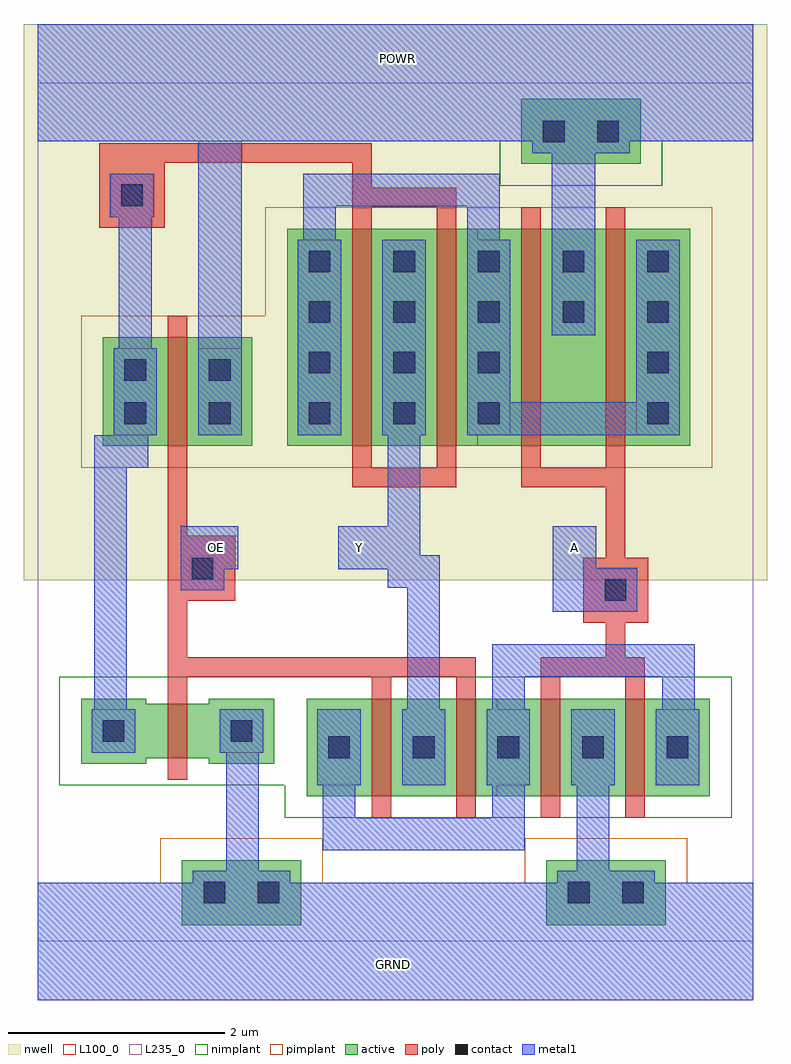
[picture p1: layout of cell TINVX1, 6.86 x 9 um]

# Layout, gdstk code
import gdstk
lib = gdstk.Library(unit=1e-6, precision=1e-09)
def R(c, l, rs):  # rectangles x0, y0, x1, y1
    for r in rs: c.add(gdstk.rectangle(r[:2], r[2:], *l))
def A(c, l, x, y, w, h, nx, ny, dx, dy):  # array of equal rectangles
    R(c, l, [(x+i*dx, y+j*dy, x+i*dx+w, y+j*dy+h) for i in range(nx) for j in range(ny)])
def P(c, l, *ps):  # polygons
    for p in ps: c.add(gdstk.Polygon(p, *l))
active = (1, 0)
nwell = (2, 0)
poly = (3, 0)
nimplant = (4, 0)
pimplant = (5, 0)
contact = (6, 0)
metal1 = (7, 0)
L100_0 = (100, 0)
L235_0 = (235, 0)

tinvx1 = lib.new_cell('TINVX1')
A(tinvx1, active, 2.48, 1.34, 0.6, 0.9, 5, 1, 0.78, 0)
A(tinvx1, active, 3.08, 1.34, 0.18, 0.9, 4, 1, 0.78, 0)
A(tinvx1, active, 2.3, 4.57, 0.6, 2, 5, 1, 0.78, 0)
A(tinvx1, active, 2.9, 4.57, 0.18, 2, 4, 1, 0.78, 0)
R(tinvx1, active, [(1.33,0.15,2.43,0.75), (4.69,0.15,5.79,0.75), (4.04,1.34,4.24,2.24), (1.2,1.69,1.38,2.19), (0.6,4.57,1.2,5.57), (1.2,4.57,1.38,5.57), (1.38,4.57,1.98,5.57), (3.86,4.57,4.06,6.57), (4.46,7.17,5.56,7.77)])
P(tinvx1, active, [(0.4,1.64),(1,1.64),(1,1.69),(1.2,1.69),(1.2,2.19),(1,2.19),(1,2.24),(0.4,2.24)],
  [(1.38,1.69),(1.58,1.69),(1.58,1.64),(2.18,1.64),(2.18,2.24),(1.58,2.24),(1.58,2.19),(1.38,2.19)])
R(tinvx1, nwell, [(-0.13,3.33,6.73,8.46), (0.1,4.07,2.48,6.07), (1.8,4.07,4.56,7.07), (3.36,4.07,6.52,7.07)])
A(tinvx1, poly, 3.08, 1.14, 0.18, 0.2, 4, 2, 0.78, 1.1)
A(tinvx1, poly, 3.08, 1.14, 0.18, 1.3, 4, 1, 0.78, 0)
A(tinvx1, poly, 2.9, 4.37, 0.18, 0.2, 4, 2, 0.78, 2.2)
A(tinvx1, poly, 2.9, 4.37, 0.18, 2.4, 4, 1, 0.78, 0)
R(tinvx1, poly, [(1.2,1.49,1.38,1.69), (1.2,1.49,1.38,2.39), (1.2,2.19,1.38,2.39), (5.03,2.94,5.63,3.54), (1.22,3.14,1.82,3.74), (1.2,4.37,1.38,5.77), (1.2,4.37,1.38,4.57), (1.2,5.57,1.38,5.77), (0.57,6.58,1.17,7.18)])
R(tinvx1, nimplant, [(2.28,1.14,4.44,2.44), (3.84,1.14,6.4,2.44), (0.2,1.44,2.38,2.44), (4.26,6.97,5.76,7.97), (0,7.38,6.6,8.46)])
R(tinvx1, pimplant, [(0,-0.54,6.6,0.54), (1.13,-0.05,2.63,0.95), (4.49,-0.05,5.99,0.95), (0.4,4.37,2.18,5.77), (2.1,4.37,4.26,6.77), (3.66,4.37,6.22,6.77)])
A(tinvx1, contact, 2.68, 1.69, 0.2, 0.2, 5, 1, 0.78, 0)
A(tinvx1, contact, 2.5, 4.77, 0.2, 0.2, 3, 2, 0.78, 0.47)
A(tinvx1, contact, 2.5, 5.705, 0.2, 0.2, 5, 2, 0.78, 0.465)
R(tinvx1, contact, [(1.53,0.35,1.73,0.55), (2.03,0.35,2.23,0.55), (4.89,0.35,5.09,0.55), (5.39,0.35,5.59,0.55), (0.6,1.84,0.8,2.04), (1.78,1.84,1.98,2.04), (5.23,3.14,5.43,3.34), (1.42,3.34,1.62,3.54), (0.8,4.77,1,4.97), (1.58,4.77,1.78,4.97), (5.62,4.77,5.82,4.97), (0.8,5.17,1,5.37), (1.58,5.17,1.78,5.37), (5.62,5.24,5.82,5.44), (0.77,6.78,0.97,6.98), (4.66,7.37,4.86,7.57), (5.16,7.37,5.36,7.57)])
R(tinvx1, metal1, [(0,-0.54,6.6,0.54), (1.43,0.25,2.33,0.65), (4.79,0.25,5.69,0.65), (5.13,3.04,5.53,3.44), (1.32,3.24,1.72,3.64), (1.5,3.48,1.8,3.78), (2.82,3.48,3.12,3.78), (4.8,3.48,5.1,3.78), (0.67,6.68,1.07,7.08), (4.56,7.27,5.46,7.67), (0,7.38,6.6,8.46)])
A(tinvx1, L100_0, 2.58, 1.44, 0.4, 0.7, 3, 1, 1.56, 0)
A(tinvx1, L100_0, 2.4, 4.67, 0.4, 1.8, 3, 1, 1.56, 0)
R(tinvx1, L100_0, [(4.04,1.34,4.24,2.24), (0.5,1.74,0.9,2.14), (1.68,1.74,2.08,2.14), (3.86,4.57,4.06,6.57), (0.7,4.67,1.1,5.47), (1.48,4.67,1.88,5.47)])
R(tinvx1, L235_0, [(0,0,6.6,7.92)])
tinvx1.add(gdstk.FlexPath([(4.64,2.53),(5.6,2.53)], 0.18, ends="flush", simple_path=True, layer=3, datatype=0))  # poly
tinvx1.add(gdstk.FlexPath([(1.29,4.375),(1.29,2.31)], 0.18, ends="flush", simple_path=True, layer=3, datatype=0))  # poly
tinvx1.add(gdstk.FlexPath([(2.9,4.28),(3.86,4.28)], 0.18, ends="flush", simple_path=True, layer=3, datatype=0))  # poly
tinvx1.add(gdstk.FlexPath([(5.33,2.44),(5.33,4.215)], 0.18, ends="flush", simple_path=True, layer=3, datatype=0))  # poly
tinvx1.add(gdstk.FlexPath([(4.46,4.28),(5.42,4.28)], 0.18, ends="flush", simple_path=True, layer=3, datatype=0))  # poly
tinvx1.add(gdstk.FlexPath([(2.9,6.86),(3.86,6.86)], 0.18, ends="flush", simple_path=True, layer=3, datatype=0))  # poly
tinvx1.add(gdstk.FlexPath([(2.99,6.77),(2.99,7.27),(0.57,7.27)], 0.18, ends="flush", simple_path=True, layer=3, datatype=0))  # poly
tinvx1.add(gdstk.FlexPath([(4.04,2.53),(1.2,2.53)], 0.18, ends="flush", simple_path=True, layer=3, datatype=0))  # poly
tinvx1.add(gdstk.FlexPath([(0.9,4.67),(0.9,5.47)], 0.4, ends="flush", simple_path=True, layer=7, datatype=0))  # metal1
tinvx1.add(gdstk.FlexPath([(1.68,4.67),(1.68,5.47)], 0.4, ends="flush", simple_path=True, layer=7, datatype=0))  # metal1
tinvx1.add(gdstk.FlexPath([(4.16,4.67),(4.16,6.47)], 0.4, ends="flush", simple_path=True, layer=7, datatype=0))  # metal1
tinvx1.add(gdstk.FlexPath([(4.94,5.59),(4.94,6.47)], 0.4, ends="flush", simple_path=True, layer=7, datatype=0))  # metal1
tinvx1.add(gdstk.FlexPath([(5.72,4.67),(5.72,6.47)], 0.4, ends="flush", simple_path=True, layer=7, datatype=0))  # metal1
tinvx1.add(gdstk.FlexPath([(4.36,4.82),(5.52,4.82)], 0.3, ends="flush", simple_path=True, layer=7, datatype=0))  # metal1
tinvx1.add(gdstk.FlexPath([(2.6,4.67),(2.6,6.47)], 0.4, ends="flush", simple_path=True, layer=7, datatype=0))  # metal1
tinvx1.add(gdstk.FlexPath([(3.38,4.67),(3.38,6.47)], 0.4, ends="flush", simple_path=True, layer=7, datatype=0))  # metal1
tinvx1.add(gdstk.FlexPath([(0.7,1.74),(0.7,2.14)], 0.4, ends="flush", simple_path=True, layer=7, datatype=0))  # metal1
tinvx1.add(gdstk.FlexPath([(1.88,1.74),(1.88,2.14)], 0.4, ends="flush", simple_path=True, layer=7, datatype=0))  # metal1
tinvx1.add(gdstk.FlexPath([(4.34,1.44),(4.34,2.14)], 0.4, ends="flush", simple_path=True, layer=7, datatype=0))  # metal1
tinvx1.add(gdstk.FlexPath([(5.12,1.44),(5.12,2.14)], 0.4, ends="flush", simple_path=True, layer=7, datatype=0))  # metal1
tinvx1.add(gdstk.FlexPath([(5.9,1.44),(5.9,2.14)], 0.4, ends="flush", simple_path=True, layer=7, datatype=0))  # metal1
tinvx1.add(gdstk.FlexPath([(2.78,1.44),(2.78,2.14)], 0.4, ends="flush", simple_path=True, layer=7, datatype=0))  # metal1
tinvx1.add(gdstk.FlexPath([(3.56,1.44),(3.56,2.14)], 0.4, ends="flush", simple_path=True, layer=7, datatype=0))  # metal1
tinvx1.add(gdstk.FlexPath([(5.91,1.95),(5.91,2.59),(4.34,2.59),(4.34,1.93)], 0.3, ends="flush", simple_path=True, layer=7, datatype=0))  # metal1
tinvx1.add(gdstk.FlexPath([(0.9,6.805),(0.9,5.435)], 0.3, ends="flush", simple_path=True, layer=7, datatype=0))  # metal1
tinvx1.add(gdstk.FlexPath([(5.12,1.56),(5.12,0.42)], 0.3, ends="flush", simple_path=True, layer=7, datatype=0))  # metal1
tinvx1.add(gdstk.FlexPath([(4.94,6.34),(4.94,7.92)], 0.4, ends="flush", simple_path=True, layer=7, datatype=0))  # metal1
tinvx1.add(gdstk.FlexPath([(0.67,2.05),(0.67,4.52),(0.87,4.52),(0.87,5.46)], 0.3, ends="flush", simple_path=True, layer=7, datatype=0))  # metal1
tinvx1.add(gdstk.FlexPath([(1.68,5.37),(1.68,7.925)], 0.4, ends="flush", simple_path=True, layer=7, datatype=0))  # metal1
tinvx1.add(gdstk.FlexPath([(3.38,4.675),(3.38,3.41),(3.56,3.41),(3.56,2)], 0.3, ends="flush", simple_path=True, layer=7, datatype=0))  # metal1
tinvx1.add(gdstk.FlexPath([(2.78,1.45),(2.78,0.99),(4.34,0.99),(4.34,1.46)], 0.3, ends="flush", simple_path=True, layer=7, datatype=0))  # metal1
tinvx1.add(gdstk.FlexPath([(1.89,2),(1.89,0.09)], 0.3, ends="flush", simple_path=True, layer=7, datatype=0))  # metal1
tinvx1.add(gdstk.FlexPath([(2.6,6.37),(2.6,6.93),(4.11,6.93),(4.11,6.34)], 0.3, ends="flush", simple_path=True, layer=7, datatype=0))  # metal1
tinvx1.add(gdstk.FlexPath([(1.32,3.63),(1.85,3.63)], 0.4, ends="flush", simple_path=True, layer=7, datatype=0))  # metal1
tinvx1.add(gdstk.FlexPath([(3.23,3.63),(2.77,3.63)], 0.4, ends="flush", simple_path=True, layer=7, datatype=0))  # metal1
tinvx1.add(gdstk.FlexPath([(5.32,3.24),(4.95,3.24),(4.95,3.83)], 0.4, ends="flush", simple_path=True, layer=7, datatype=0))  # metal1
tinvx1.add(gdstk.Label('GRND', (3.28,-0.21), layer=230, texttype=0))
tinvx1.add(gdstk.Label('OE', (1.65,3.63), layer=230, texttype=0))
tinvx1.add(gdstk.Label('A', (4.95,3.63), layer=230, texttype=0))
tinvx1.add(gdstk.Label('POWR', (3.32,8.14), layer=230, texttype=0))
tinvx1.add(gdstk.Label('Y', (2.97,3.63), layer=230, texttype=0))

lib.write_gds('TINVX1.gds')
